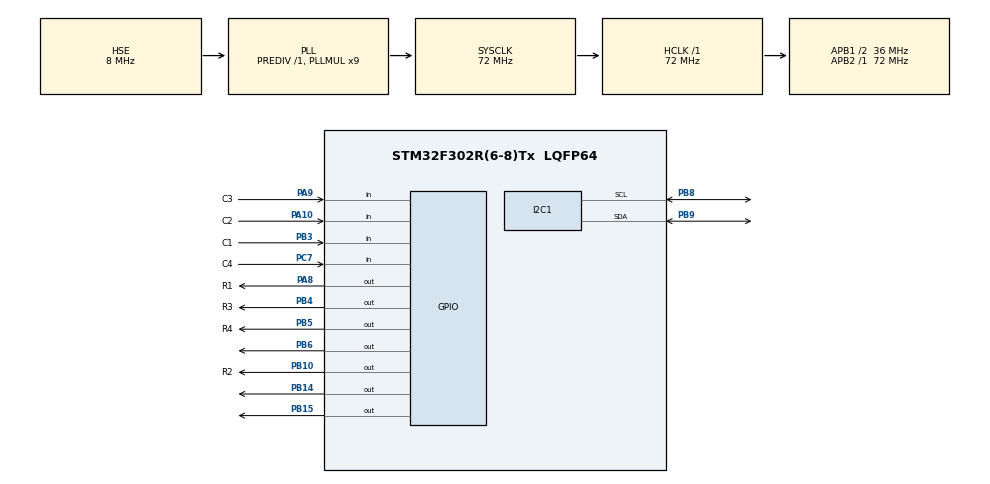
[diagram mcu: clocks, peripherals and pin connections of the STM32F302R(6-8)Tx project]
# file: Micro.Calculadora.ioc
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Mcu.Family=STM32F3
Mcu.Name=STM32F302R(6-8)Tx
Mcu.Package=LQFP64
NVIC.PriorityGroup=NVIC_PRIORITYGROUP_0
PA10.GPIO_Label=C2
PA10.GPIO_PuPd=GPIO_PULLUP
PA10.Signal=GPIO_Input
PA8.GPIO_Label=R1
PA8.Signal=GPIO_Output
PA9.GPIO_Label=C3
PA9.GPIO_PuPd=GPIO_PULLUP
PA9.Signal=GPIO_Input
PB10.GPIO_Label=R2
PB10.Signal=GPIO_Output
PB14.Signal=GPIO_Output
PB15.Signal=GPIO_Output
PB3.GPIO_Label=C1
PB3.GPIO_PuPd=GPIO_PULLUP
PB3.Signal=GPIO_Input
PB4.GPIO_Label=R3
PB4.Signal=GPIO_Output
PB5.GPIO_Label=R4
PB5.Signal=GPIO_Output
PB6.Signal=GPIO_Output
PB8.Mode=I2C
PB8.Signal=I2C1_SCL
PB9.Mode=I2C
PB9.Signal=I2C1_SDA
PC7.GPIO_Label=C4
PC7.GPIO_PuPd=GPIO_PULLUP
PC7.Signal=GPIO_Input
PF0-OSC_IN.Mode=HSE-External-Oscillator
PF0-OSC_IN.Signal=RCC_OSC_IN
PF1-OSC_OUT.Mode=HSE-External-Oscillator
PF1-OSC_OUT.Signal=RCC_OSC_OUT
ProjectManager.HeapSize=0x200
ProjectManager.StackSize=0x400
ProjectManager.TargetToolchain=STM32CubeIDE
RCC.AHBFreq_Value=72000000
RCC.APB1CLKDivider=RCC_HCLK_DIV2
RCC.APB1Freq_Value=36000000
RCC.APB1TimFreq_Value=72000000
RCC.APB2Freq_Value=72000000
RCC.APB2TimFreq_Value=72000000
RCC.CortexFreq_Value=72000000
RCC.HCLKFreq_Value=72000000
RCC.HSE_VALUE=8000000
RCC.HSI_VALUE=8000000
RCC.LSE_VALUE=32768
RCC.PLLM=8
RCC.PLLMUL=RCC_PLL_MUL9
RCC.PLLN=336
RCC.PLLP=RCC_PLLP_DIV4
RCC.PLLQ=7
RCC.PLLSourceVirtual=RCC_PLLSOURCE_HSE
RCC.SYSCLKFreq_VALUE=72000000
RCC.SYSCLKSourceVirtual=RCC_SYSCLKSOURCE_PLLCLK
RCC.USBFreq_Value=72000000
board=NUCLEO-F302R8

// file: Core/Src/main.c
/* USER CODE BEGIN Header */
/**
  ******************************************************************************
  * @file           : main.c
  * @brief          : Main program body
  ******************************************************************************
  * @attention
  *
  * Copyright (c) 2023 STMicroelectronics.
  * All rights reserved.
  *
  * This software is licensed under terms that can be found in the LICENSE file
  * in the root directory of this software component.
  * If no LICENSE file comes with this software, it is provided AS-IS.
  *
  ******************************************************************************
  */
/******************************************************************************
                          -----Microcontroladores-----

Nombre: Angel Gabrir Segura V

Matricula: 2021-0311

Asignacion 1

******************************************************************************/

/* USER CODE END Header */
#include "main.h"

/* USER CODE BEGIN Includes */
#include "i2c-lcd.h"
#include "max_matrix_stm32.h"
#include "keypad_4x4.h"
#include "stdio.h"

/* USER CODE END Includes */

I2C_HandleTypeDef hi2c1;

/* USER CODE BEGIN PV */
char key;
/* USER CODE END PV */

void SystemClock_Config(void);
static void MX_GPIO_Init(void);
static void MX_I2C1_Init(void);

/* USER CODE BEGIN 0 */
void intToDecimalString(int numd, char *str) {
    if (numd == 0) {
        str[0] = '0';
        str[1] = '\0';
        return;
    }

    int i = 0;
    int isNegative = 0;

    if (numd < 0) {
        isNegative = 1;
        numd = -numd;
    }

    while (numd > 0) {
        str[i++] = numd % 10 + '0';
        numd /= 10;
    }

    if (isNegative) {
        str[i++] = '-';
    }

    str[i] = '\0';

    // Invertir el string
    int start = 0;
    int end = i - 1;
    while (start < end) {
        char temp = str[start];
        str[start] = str[end];
        str[end] = temp;
        start++;
        end--;
    }
}

int stringToInteger(const char *str) {
    int result = 0;
    int sign = 1;
    int i = 0;

    // Ignorar espacios iniciales
    while (str[i] == ' ')
        i++;

    // Verificar el signo
    if (str[i] == '-') {
        sign = -1;
        i++;
    } else if (str[i] == '+') {
        i++;
    }

    // Calcular el valor numérico
    int len = strlen(str);
    for (; i < len; i++) {
        result = result * 10 + (str[i] - '0');
    }

    return sign * result;
}
/* USER CODE END 0 */

int main(void)
{

  /* MCU Configuration--------------------------------------------------------*/

  /* Reset of all peripherals, Initializes the Flash interface and the Systick. */
  HAL_Init();

  /* Configure the system clock */
  SystemClock_Config();

  /* Initialize all configured peripherals */
  MX_GPIO_Init();
  MX_I2C1_Init();
  /* USER CODE BEGIN 2 */
  lcd_init();
  max_init(0x02);
  /* lcd_put_cur(0, 1);
         	                    lcd_send_string("Tcl.A   SUMA(+) ");
         	                    lcd_put_cur(1, 4);
         	                    lcd_send_string("+");
         	                     lcd_put_cur(1, 5);
         	                    lcd_send_string("");
         	                    index2 = 0;
         	                    write_char(0b10000000, 1);*/
  scroll_string("Asignacion 1 -- Calculadora   ", 100, left);
           HAL_Delay(500);
           max_clear();

  lcd_put_cur(0, 0);
  lcd_send_string("Angel G. Segura ");
  lcd_put_cur(1, 0);
  lcd_send_string("   2021-0311    ");
HAL_Delay(3000);
while (1) {
        // Declarar variables y arreglos
        char num1[5];
char num2[5];
int index1 = 0;
int index2 = 0;
int result = 0;
int input_stage = 1; // Etapa de entrada: 1 para num1, 2 para num2
int resta = 0;
int suma = 0;
int multiplicacion = 0;
int division = 0;

        // Mostrar mensaje en la pantalla
        lcd_clear();
        lcd_put_cur(0, 0);
        lcd_send_string("Introd. Digitos");
        lcd_put_cur(1, 0);
        lcd_send_string("");

        while (1) {
       	 // Esperar hasta que se presione una tecla en el teclado
       	        char keypad_key = Keypad_Get_Char();

       	        if (keypad_key >= '0' && keypad_key <= '9') {
       	                    if (input_stage == 1 && index1 < 4) {
       	                                        num1[index1++] = keypad_key;
       	                                            lcd_send_data(keypad_key);
       	                                                  } else if (input_stage == 2 && index2 < 4) {
       	                                                     num2[index2++] = keypad_key;
       	                                                       lcd_send_data(keypad_key);}

       	                 // Mostrar los dígitos y el signo en la pantalla LCD
       	                     lcd_clear();
       	                     lcd_put_cur(0, 0);
       	                     lcd_send_string("Introd. Digitos");
       	                     lcd_put_cur(1, 0);

       	                     // Concatenar num1, el signo y num2 en una cadena
       	                     char display_str[15];
       	                     if (input_stage == 1) {
       	                         // Mostrar todos los dígitos ingresados de num1
       	                         sprintf(display_str, "%.*s", index1, num1);
       	                     } else if (input_stage == 2) {
       	                         if (suma) {
       	                             // Mostrar todos los dígitos ingresados de num1, el signo y todos los dígitos ingresados de num2
       	                             sprintf(display_str, "%.*s + %.*s", index1, num1, index2, num2);
       	                         } else if (resta) {
       	                             // Mostrar todos los dígitos ingresados de num1, el signo y todos los dígitos ingresados de num2
       	                             sprintf(display_str, "%.*s - %.*s", index1, num1, index2, num2);
       	                         } else if (multiplicacion) {
       	                             // Mostrar todos los dígitos ingresados de num1, el signo y todos los dígitos ingresados de num2
       	                             sprintf(display_str, "%.*s * %.*s", index1, num1, index2, num2);
       	                         } else if (division) {
       	                             // Mostrar todos los dígitos ingresados de num1, el signo y todos los dígitos ingresados de num2
       	                             sprintf(display_str, "%.*s / %.*s", index1, num1, index2, num2);
       	                         }
       	                     }

       	             lcd_send_string(display_str);

} else if (keypad_key == 'A') {
       	                    input_stage = 2;
       	                          suma = 1;
       	                             resta = 0;
       	                                multiplicacion = 0;
       	                                   division = 0;

       	                    lcd_clear();
       	                    lcd_put_cur(0, 1);
       	                    lcd_send_string("Tcl.A   SUMA(+) ");
       	                    lcd_put_cur(1, 0);
       	                    lcd_send_string("+");
       	                    index2 = 0;
       	                    write_char(0b10000000, 1);

       	                         // Concatenar num1 y num2 en una cadena
       	                         char display_str[10];
       	                         sprintf(display_str, "%s %s", num1, num2);
       	                }else if (keypad_key == 'B') {
       	                	max_clear();
       	                         input_stage = 2;
       	                            suma = 0;
       	                               resta = 1;
       	                                    multiplicacion = 0;
       	                    division = 0;
       	                    lcd_clear();
       	                    lcd_put_cur(0, 1);
       	                    lcd_send_string("Tcl.B  RESTA(-) ");
       	                    lcd_put_cur(1, 0);
       	                    lcd_send_string("-");
       	                    index2 = 0;
       	                    write_char(0b10000001, 1);

       	                }else if (keypad_key == 'C') {
       	                	max_clear();
       	                        input_stage = 2;
       	                            suma = 0;
       	                                resta = 0;
       	                                    multiplicacion = 1;
       	                                         division = 0;
       	                    lcd_clear();
       	                    lcd_put_cur(0, 1);
       	                    lcd_send_string("Tcl.C   MULT(x) ");
       	                    lcd_put_cur(1, 0);
       	                    lcd_send_string("x");
       	                    index2 = 0;
       	                    write_char(0b10000010, 1);

       	                }else if (keypad_key == 'D') {
       	                	max_clear();
       	                         input_stage = 2;
       	                             suma = 0;
       	                                  resta = 0;
       	                                      multiplicacion = 0;
       	                                            division = 1;
       	                    lcd_clear();
       	                    lcd_put_cur(0, 1);
       	                    lcd_send_string("Tcl.D    DIV(/) ");
       	                    lcd_put_cur(1, 0);
       	                    lcd_send_string("/");
       	                    index2 = 0;
       	                    write_char(0b10000011, 1);

       	                } else if (keypad_key == '*') {

       	                  if (input_stage == 1 && index1 > 0) {
       	                      index1--;  // Decrementar el índice de num1 para eliminar el último dígito
       	                      lcd_send_cmd(0x10);  // Mover el cursor a la posición anterior en la pantalla LCD
       	                      lcd_send_data(' ');  // Borrar el dígito anterior en la pantalla LCD
       	                    lcd_send_cmd(0x10);  // Mover el cursor nuevamente a la posición anterior

       	                  } else if (input_stage == 2 && index2 > 0) {
       	                      index2--;  // Decrementar el índice de num2 para eliminar el último dígito
       	                      lcd_send_cmd(0x10);  // Mover el cursor a la posición anterior en la pantalla LCD
       	                      lcd_send_data(' ');  // Borrar el dígito anterior en la pantalla LCD
       	                      lcd_send_cmd(0x10);  // Mover el cursor nuevamente a la posición anterior
       	                  }

       	              }else if (keypad_key == '#') {
       	                	max_clear();
       	                    num1[index1] = '\0';
       	                    num2[index2] = '\0';

       	                    int num1_decimal = stringToInteger(num1);
       	                    int num2_decimal = stringToInteger(num2);
       	                    if(suma == 1)
       	                    {
       	                    	                             result = num1_decimal + num2_decimal;

       	                    } else if(resta == 1)
       	                    {
       	                    	                              result = num1_decimal - num2_decimal;
       	                    	max_clear();
       	                    } else if ( multiplicacion == 1 )
       	                    {
       	                    	                              result = num1_decimal * num2_decimal;

       	                    } else if ( division == 1 )
       	                    {
       	                    	                              result = num1_decimal / num2_decimal;

       	                    }
       	                    char result_str[20];
       	                    intToDecimalString(result, result_str);

       	                    lcd_clear();
       	                    lcd_put_cur(0, 0);
       	                    lcd_send_string("Resultado");
       	                 lcd_put_cur(1, 0);
       	                        	                    lcd_send_string("=");
       	                    lcd_put_cur(1, 1);
       	                    lcd_send_string(result_str);
       	                    HAL_Delay(5000);
       	                    lcd_clear();

       	                    index1 = 0;
       	                    index2 = 0;
       	                    input_stage = 1;

       	                 scroll_string("Vuelva a calcular  ", 100, left);
       	                            HAL_Delay(500);
       	                            max_clear();

       	                 break;
       	                       }
       	                     }

    /* USER CODE END WHILE */
// scroll_string ((uint8_t *) "Calculadora -- Asignacion 1   "  , 80, left);
		 //max_clear();
    /* USER CODE BEGIN 3 */
	 /* key = Keypad_Get_Char();
	 	 if (key !=0){
	 		for (int i = 0; i < 1; i++) {
	 			 	   	  		}
	 		 lcd_enviar("key:  ", 1, 0);
	 		 lcd_send_string(&key);

	 		 if (key == 'D'){
	 			 lcd_clear();
	 			lcd_enviar("--CALCULADORA--", 0, 0);
	 		lcd_enviar("key:  ", 1, 0);
	 		 }
	 	 }*/
  }
  /* USER CODE END 3 */
}

void SystemClock_Config(void)
{
  RCC_OscInitTypeDef RCC_OscInitStruct = {0};
  RCC_ClkInitTypeDef RCC_ClkInitStruct = {0};
  RCC_PeriphCLKInitTypeDef PeriphClkInit = {0};

  /** Initializes the RCC Oscillators according to the specified parameters
  * in the RCC_OscInitTypeDef structure.
  */
  RCC_OscInitStruct.OscillatorType = RCC_OSCILLATORTYPE_HSI|RCC_OSCILLATORTYPE_HSE;
  RCC_OscInitStruct.HSEState = RCC_HSE_ON;
  RCC_OscInitStruct.HSEPredivValue = RCC_HSE_PREDIV_DIV1;
  RCC_OscInitStruct.HSIState = RCC_HSI_ON;
  RCC_OscInitStruct.HSICalibrationValue = RCC_HSICALIBRATION_DEFAULT;
  RCC_OscInitStruct.PLL.PLLState = RCC_PLL_ON;
  RCC_OscInitStruct.PLL.PLLSource = RCC_PLLSOURCE_HSE;
  RCC_OscInitStruct.PLL.PLLMUL = RCC_PLL_MUL9;
  if (HAL_RCC_OscConfig(&RCC_OscInitStruct) != HAL_OK)
  {
    Error_Handler();
  }

  /** Initializes the CPU, AHB and APB buses clocks
  */
  RCC_ClkInitStruct.ClockType = RCC_CLOCKTYPE_HCLK|RCC_CLOCKTYPE_SYSCLK
                              |RCC_CLOCKTYPE_PCLK1|RCC_CLOCKTYPE_PCLK2;
  RCC_ClkInitStruct.SYSCLKSource = RCC_SYSCLKSOURCE_PLLCLK;
  RCC_ClkInitStruct.AHBCLKDivider = RCC_SYSCLK_DIV1;
  RCC_ClkInitStruct.APB1CLKDivider = RCC_HCLK_DIV2;
  RCC_ClkInitStruct.APB2CLKDivider = RCC_HCLK_DIV1;

  if (HAL_RCC_ClockConfig(&RCC_ClkInitStruct, FLASH_LATENCY_2) != HAL_OK)
  {
    Error_Handler();
  }
  PeriphClkInit.PeriphClockSelection = RCC_PERIPHCLK_I2C1;
  PeriphClkInit.I2c1ClockSelection = RCC_I2C1CLKSOURCE_HSI;
  if (HAL_RCCEx_PeriphCLKConfig(&PeriphClkInit) != HAL_OK)
  {
    Error_Handler();
  }
}

static void MX_I2C1_Init(void)
{

  hi2c1.Instance = I2C1;
  hi2c1.Init.Timing = 0x2000090E;
  hi2c1.Init.OwnAddress1 = 0;
  hi2c1.Init.AddressingMode = I2C_ADDRESSINGMODE_7BIT;
  hi2c1.Init.DualAddressMode = I2C_DUALADDRESS_DISABLE;
  hi2c1.Init.OwnAddress2 = 0;
  hi2c1.Init.OwnAddress2Masks = I2C_OA2_NOMASK;
  hi2c1.Init.GeneralCallMode = I2C_GENERALCALL_DISABLE;
  hi2c1.Init.NoStretchMode = I2C_NOSTRETCH_DISABLE;
  if (HAL_I2C_Init(&hi2c1) != HAL_OK)
  {
    Error_Handler();
  }

  /** Configure Analogue filter
  */
  if (HAL_I2CEx_ConfigAnalogFilter(&hi2c1, I2C_ANALOGFILTER_ENABLE) != HAL_OK)
  {
    Error_Handler();
  }

  /** Configure Digital filter
  */
  if (HAL_I2CEx_ConfigDigitalFilter(&hi2c1, 0) != HAL_OK)
  {
    Error_Handler();
  }

}

static void MX_GPIO_Init(void)
{
  GPIO_InitTypeDef GPIO_InitStruct = {0};

  /* GPIO Ports Clock Enable */
  __HAL_RCC_GPIOF_CLK_ENABLE();
  __HAL_RCC_GPIOB_CLK_ENABLE();
  __HAL_RCC_GPIOC_CLK_ENABLE();
  __HAL_RCC_GPIOA_CLK_ENABLE();

  /*Configure GPIO pin Output Level */
  HAL_GPIO_WritePin(GPIOB, R2_Pin|GPIO_PIN_14|GPIO_PIN_15|R3_Pin
                         |R4_Pin|GPIO_PIN_6, GPIO_PIN_RESET);

  /*Configure GPIO pin Output Level */
  HAL_GPIO_WritePin(R1_GPIO_Port, R1_Pin, GPIO_PIN_RESET);

  /*Configure GPIO pins : R2_Pin PB14 PB15 R3_Pin
                           R4_Pin PB6 */
  GPIO_InitStruct.Pin = R2_Pin|GPIO_PIN_14|GPIO_PIN_15|R3_Pin
                          |R4_Pin|GPIO_PIN_6;
  GPIO_InitStruct.Mode = GPIO_MODE_OUTPUT_PP;
  GPIO_InitStruct.Pull = GPIO_NOPULL;
  GPIO_InitStruct.Speed = GPIO_SPEED_FREQ_LOW;
  HAL_GPIO_Init(GPIOB, &GPIO_InitStruct);

  /*Configure GPIO pin : C4_Pin */
  GPIO_InitStruct.Pin = C4_Pin;
  GPIO_InitStruct.Mode = GPIO_MODE_INPUT;
  GPIO_InitStruct.Pull = GPIO_PULLUP;
  HAL_GPIO_Init(C4_GPIO_Port, &GPIO_InitStruct);

  /*Configure GPIO pin : R1_Pin */
  GPIO_InitStruct.Pin = R1_Pin;
  GPIO_InitStruct.Mode = GPIO_MODE_OUTPUT_PP;
  GPIO_InitStruct.Pull = GPIO_NOPULL;
  GPIO_InitStruct.Speed = GPIO_SPEED_FREQ_LOW;
  HAL_GPIO_Init(R1_GPIO_Port, &GPIO_InitStruct);

  /*Configure GPIO pins : C3_Pin C2_Pin */
  GPIO_InitStruct.Pin = C3_Pin|C2_Pin;
  GPIO_InitStruct.Mode = GPIO_MODE_INPUT;
  GPIO_InitStruct.Pull = GPIO_PULLUP;
  HAL_GPIO_Init(GPIOA, &GPIO_InitStruct);

  /*Configure GPIO pin : C1_Pin */
  GPIO_InitStruct.Pin = C1_Pin;
  GPIO_InitStruct.Mode = GPIO_MODE_INPUT;
  GPIO_InitStruct.Pull = GPIO_PULLUP;
  HAL_GPIO_Init(C1_GPIO_Port, &GPIO_InitStruct);

}

void Error_Handler(void)
{
  __disable_irq();
  while (1)
  {
  }
}
